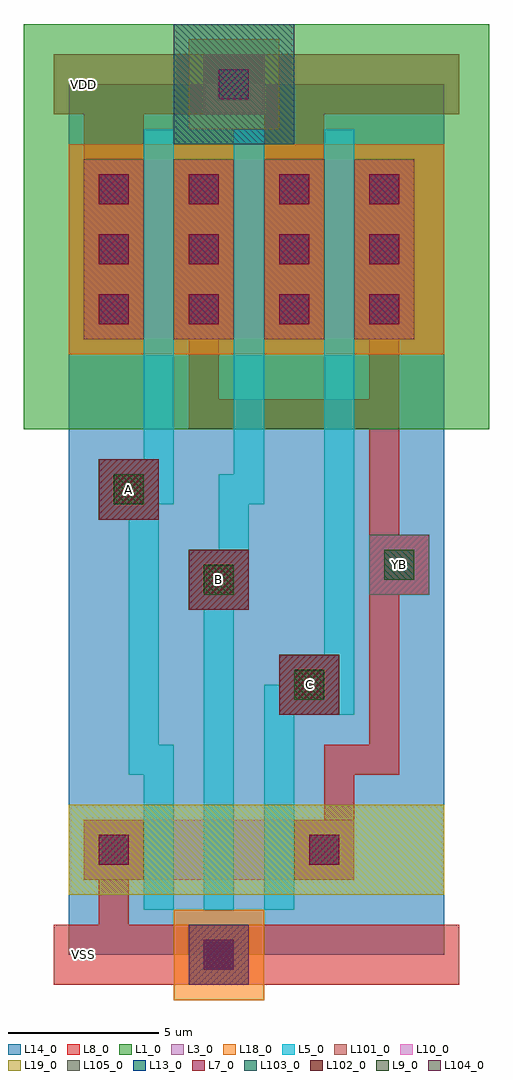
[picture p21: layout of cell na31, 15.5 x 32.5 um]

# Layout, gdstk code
import gdstk
lib = gdstk.Library(unit=1e-6, precision=1e-09)
def R(c, l, rs):  # rectangles x0, y0, x1, y1
    for r in rs: c.add(gdstk.rectangle(r[:2], r[2:], *l))
L1_0 = (1, 0)
L3_0 = (3, 0)
L5_0 = (5, 0)
L7_0 = (7, 0)
L8_0 = (8, 0)
L9_0 = (9, 0)
L10_0 = (10, 0)
L13_0 = (13, 0)
L14_0 = (14, 0)
L18_0 = (18, 0)
L19_0 = (19, 0)
L101_0 = (101, 0)
L102_0 = (102, 0)
L103_0 = (103, 0)
L104_0 = (104, 0)
L105_0 = (105, 0)

dcont = lib.new_cell('dcont')
R(dcont, L3_0, [(-1,-1,1,1)])
R(dcont, L7_0, [(-0.5,-0.5,0.5,0.5)])
R(dcont, L8_0, [(-1,-1,1,1)])
R(dcont, L13_0, [(-0.5,-0.5,0.5,0.5)])
R(dcont, L101_0, [(-1,-1,1,1)])
dcont.add(gdstk.Label('dcont', (0,0), layer=13, texttype=0))

pcont = lib.new_cell('pcont')
R(pcont, L5_0, [(-1,-1,1,1)])
R(pcont, L7_0, [(-0.5,-0.5,0.5,0.5)])
R(pcont, L8_0, [(-1,-1,1,1)])
R(pcont, L102_0, [(-1,-1,1,1)])
pcont.add(gdstk.Label('pcont', (0,0), layer=13, texttype=0))

via = lib.new_cell('Via')
R(via, L8_0, [(-1,-1,1,1)])
R(via, L9_0, [(-0.5,-0.5,0.5,0.5)])
R(via, L10_0, [(-1,-1,1,1)])
R(via, L13_0, [(-0.5,-0.5,0.5,0.5)])
R(via, L105_0, [(-1,-1,1,1)])
via.add(gdstk.Label('via', (0,0), layer=13, texttype=0))

nsubcont = lib.new_cell('nsubcont')
R(nsubcont, L1_0, [(-2,-2,2,2)])
R(nsubcont, L19_0, [(-1.5,-1.5,1.5,1.5)])
R(nsubcont, L103_0, [(-2,-2,2,2)])
nsubcont.add(gdstk.Reference(dcont, (0,0)))
nsubcont.add(gdstk.Label('NScont', (0,0), layer=13, texttype=0))

psubcont = lib.new_cell('psubcont')
R(psubcont, L18_0, [(-1.5,-1.5,1.5,1.5)])
R(psubcont, L104_0, [(-1,-1,1,1)])
psubcont.add(gdstk.Reference(dcont, (0,0)))
psubcont.add(gdstk.Label('PScon', (0,0), layer=13, texttype=0))

na31 = lib.new_cell('na31')
R(na31, L1_0, [(-1.5,17.5,14,31)])
R(na31, L3_0, [(0.5,2.5,9.5,4.5), (0.5,20.5,11.5,26.5)])
R(na31, L8_0, [(-0.5,-1,13,1), (-0.5,-1,13,1), (7,8,9,10), (7,8,9,10), (4,11.5,6,13.5), (4,11.5,6,13.5), (10,12,12,14), (10,12,12,14), (1,14.5,3,16.5), (1,14.5,3,16.5), (-0.5,28,13,30), (-0.5,28,13,30)])
R(na31, L10_0, [(7,8,9,10), (7,8,9,10), (4,11.5,6,13.5), (4,11.5,6,13.5), (10,12,12,14), (10,12,12,14), (1,14.5,3,16.5), (1,14.5,3,16.5)])
R(na31, L14_0, [(0,0,12.5,29)])
R(na31, L18_0, [(0,20,12.5,27)])
R(na31, L19_0, [(0,2,12.5,5)])
R(na31, L105_0, [(7,8,9,10), (4,11.5,6,13.5), (10,12,12,14), (1,14.5,3,16.5)])
na31.add(gdstk.FlexPath([(3,27),(3,15.5),(2.5,15.5),(2.5,6.5),(3,6.5),(3,2)], 1, ends="extended", simple_path=True, layer=5, datatype=0))  # L5_0
na31.add(gdstk.FlexPath([(6,27),(6,15.5),(5.5,15.5),(5.5,12.5),(5,12.5),(5,2)], 1, ends="extended", simple_path=True, layer=5, datatype=0))  # L5_0
na31.add(gdstk.FlexPath([(9,27),(9,8.5),(7,8.5),(7,2)], 1, ends="extended", simple_path=True, layer=5, datatype=0))  # L5_0
na31.add(gdstk.FlexPath([(10.5,22.3),(10.5,25.5)], 1.4, ends="extended", simple_path=True, layer=8, datatype=0))  # L8_0
na31.add(gdstk.FlexPath([(10.5,20.5),(10.5,18)], 1, ends="extended", simple_path=True, layer=8, datatype=0))  # L8_0
na31.add(gdstk.FlexPath([(4.5,20.5),(4.5,18),(10.5,18),(10.5,6.5),(9,6.5),(9,3.8)], 1, ends="extended", simple_path=True, layer=8, datatype=0))  # L8_0
na31.add(gdstk.FlexPath([(7.5,21.6),(7.5,28.5)], 2, ends="extended", simple_path=True, layer=8, datatype=0))  # L8_0
na31.add(gdstk.FlexPath([(4.5,22.3),(4.5,25.5)], 1.4, ends="extended", simple_path=True, layer=8, datatype=0))  # L8_0
na31.add(gdstk.FlexPath([(1.5,1),(1.5,3.5)], 1, ends="extended", simple_path=True, layer=8, datatype=0))  # L8_0
na31.add(gdstk.FlexPath([(1.5,21.5),(1.5,28.5)], 2, ends="extended", simple_path=True, layer=8, datatype=0))  # L8_0
na31.add(gdstk.Reference(dcont, (7.5,25.5)))
na31.add(gdstk.Reference(dcont, (10.5,25.5)))
na31.add(gdstk.Reference(dcont, (10.5,21.5)))
na31.add(gdstk.Reference(pcont, (5,12.5)))
na31.add(gdstk.Reference(dcont, (1.5,25.5)))
na31.add(gdstk.Reference(dcont, (8.5,3.5)))
na31.add(gdstk.Reference(pcont, (2,15.5)))
na31.add(gdstk.Reference(via, (11,13)))
na31.add(gdstk.Reference(dcont, (1.5,21.5)))
na31.add(gdstk.Reference(dcont, (7.5,21.5)))
na31.add(gdstk.Reference(dcont, (4.5,23.5)))
na31.add(gdstk.Reference(pcont, (8,9)))
na31.add(gdstk.Reference(dcont, (1.5,3.5)))
na31.add(gdstk.Reference(via, (2,15.5)))
na31.add(gdstk.Reference(dcont, (10.5,23.5)))
na31.add(gdstk.Reference(nsubcont, (5.5,29)))
na31.add(gdstk.Reference(dcont, (4.5,21.5)))
na31.add(gdstk.Reference(dcont, (7.5,23.5)))
na31.add(gdstk.Reference(via, (8,9)))
na31.add(gdstk.Reference(dcont, (1.5,23.5)))
na31.add(gdstk.Reference(dcont, (4.5,25.5)))
na31.add(gdstk.Reference(via, (5,12.5)))
na31.add(gdstk.Reference(psubcont, (5,0)))
na31.add(gdstk.Label('VDD', (0.5,29), layer=8, texttype=0))
na31.add(gdstk.Label('VSS', (0.5,0), layer=8, texttype=0))
na31.add(gdstk.Label('YB', (11,13), layer=10, texttype=0))
na31.add(gdstk.Label('C', (8,9), layer=10, texttype=0))
na31.add(gdstk.Label('B', (5,12.5), layer=10, texttype=0))
na31.add(gdstk.Label('A', (2,15.5), layer=10, texttype=0))

lib.write_gds('na31.gds')
